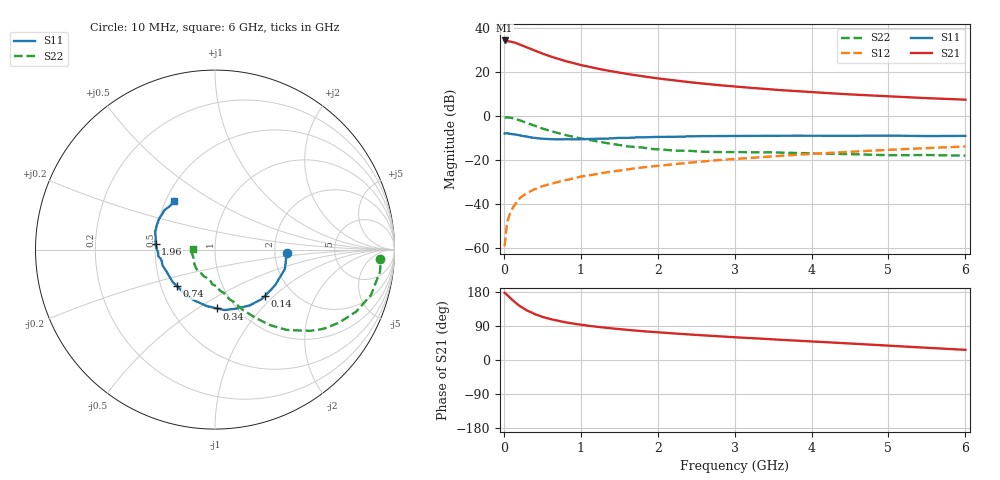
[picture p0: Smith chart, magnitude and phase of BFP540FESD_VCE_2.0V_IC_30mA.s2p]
! Infineon Technologies  Discrete & RF Semiconductors
! BFP540FESD
! VCE =  2.0 V,  IC =  30 mA
! Common Emitter S-Parameters:  Nov 2015
# GHz  S  MA  R  50
!  f  S11  S21  S12  S22
! GHz  MAG  ANG  MAG  ANG  MAG  ANG  MAG  ANG
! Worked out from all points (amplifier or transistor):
!   210 points, 10 MHz to 6 GHz, reference 50 ohm
!   highest |S21| = 34.3 dB at 10 MHz (marker M1)
!   |S21| within 3 dB of that: start of sweep to 290.4 MHz
!   unconditionally stable (mu >= 1): start of sweep to 11.56 MHz; 1.501 GHz to end of sweep
!   at 185 MHz: K = 0.36, MSG = 35.5 dB, |S12| = -38.3 dB
!   at 1.52 GHz: K = 1.00, MAG = 21.8 dB, |S12| = -24.7 dB
!   at 6 GHz: K = 1.16, MAG = 8.2 dB, |S12| = -13.9 dB
!   S11 on the Smith chart (normalised r, x): 10 MHz: 2.33, -0.10; 140 MHz: 1.45, -0.88; 340 MHz: 0.82, -0.61; 740 MHz: 0.60, -0.27; 1.96 GHz: 0.50, +0.04; 6 GHz: 0.56, +0.34
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0.01  0.3996 -2.6  51.9 177.4  0.0011 97.4  0.9217 -3.3
0.02  0.3996 -8.1  50.59 176.0  0.0016 101.8  0.9248 -2.2
0.05  0.4038 -15.6  50.29 170.2  0.0042 91.3  0.9276 -7.6
0.1  0.3897 -30.6  48.34 160.3  0.0073 81.4  0.9053 -16.2
0.14  0.3791 -43.3  46.33 153.4  0.0095 78.0  0.8673 -22.1
0.2  0.3659 -58.3  42.56 143.5  0.0131 75.2  0.8035 -30.3
0.22  0.3578 -62.9  41.18 140.9  0.0141 74.2  0.781 -32.6
0.3  0.3405 -81.3  36.18 130.7  0.0175 70.0  0.6944 -40.7
0.34  0.328 -87.8  33.84 127.3  0.0191 68.8  0.655 -43.5
0.4  0.318 -98.4  30.6 121.2  0.0216 67.4  0.5992 -48.3
0.5  0.3055 -113.0  26.23 113.9  0.0253 65.9  0.5183 -54.1
0.6  0.298 -124.3  22.65 108.1  0.0284 65.9  0.4567 -58.1
0.74  0.294 -136.8  19.04 102.0  0.0327 65.9  0.3935 -63.1
0.9  0.2945 -148.5  15.88 96.0  0.0379 66.1  0.3359 -67.9
1.02  0.2959 -155.1  14.13 92.5  0.0424 65.3  0.3043 -71.1
1.4  0.3086 -171.1  10.34 83.5  0.0545 64.5  0.2326 -82.4
1.96  0.333 174.2  7.295 73.6  0.0723 62.2  0.1768 -99.7
2.02  0.3346 172.5  7.064 72.7  0.0742 61.7  0.1744 -101.9
3.1  0.3521 157.0  4.51 59.0  0.1082 55.8  0.1506 -128.7
4.1  0.3551 149.4  3.391 47.9  0.1406 49.6  0.1403 -144.8
5.1  0.3557 141.0  2.742 36.8  0.1732 41.6  0.1284 -160.8
6  0.3525 130.0  2.344 26.8  0.2025 34.0  0.1253 179.0
